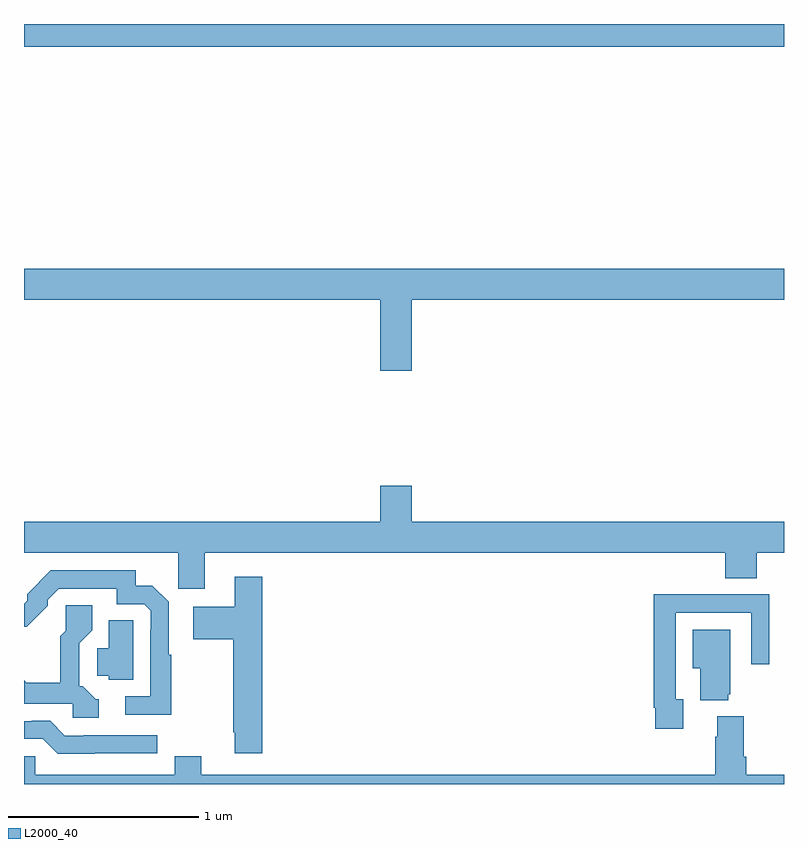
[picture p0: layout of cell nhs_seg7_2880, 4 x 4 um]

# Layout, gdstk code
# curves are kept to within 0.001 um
import gdstk
lib = gdstk.Library(unit=1e-6, precision=1e-09)
def R(c, l, rs):  # rectangles x0, y0, x1, y1
    for r in rs: c.add(gdstk.rectangle(r[:2], r[2:], *l))
def P(c, l, *ps):  # polygons
    for p in ps: c.add(gdstk.Polygon(p, *l))
L2000_40 = (2000, 40)

nhs_seg7_2880 = lib.new_cell('nhs_seg7_2880')
R(nhs_seg7_2880, L2000_40, [(295,1069.88,299,1070)])
P(nhs_seg7_2880, L2000_40, [(297.04,1068.548),(299,1068.548),(299,1068.712),(295,1068.712),(295,1068.548),(296.876,1068.548),(296.876,1068.174),(297.04,1068.174)],
  [(295.951,1067.216),(298.691,1067.216),(298.691,1067.083),(298.856,1067.083),(298.856,1067.216),(299,1067.216),(299,1067.38),(297.04,1067.38),(297.04,1067.569),(296.876,1067.569),(296.876,1067.38),(295,1067.38),(295,1067.216),(295.813,1067.216),(295.813,1067.028),(295.951,1067.028)],
  [(295.774,1066.679),(295.762,1066.679),(295.762,1066.958),(295.676,1067.044),(295.587,1067.044),(295.587,1067.124),(295.142,1067.124),(295.017,1066.999),(295.017,1066.965),(295,1066.948),(295,1066.827),(295.015,1066.827),(295.125,1066.937),(295.125,1066.971),(295.182,1067.028),(295.488,1067.028),(295.488,1066.947),(295.632,1066.947),(295.668,1066.911),(295.668,1066.811),(295.665,1066.811),(295.665,1066.461),(295.533,1066.461),(295.533,1066.365),(295.774,1066.365)],
  [(296.255,1067.092),(296.108,1067.092),(296.108,1066.933),(295.89,1066.933),(295.89,1066.763),(296.101,1066.763),(296.101,1066.273),(296.108,1066.273),(296.108,1066.161),(296.255,1066.161)],
  [(298.471,1066.446),(298.431,1066.446),(298.431,1066.902),(298.827,1066.902),(298.827,1066.629),(298.923,1066.629),(298.923,1066.998),(298.607,1066.998),(298.607,1067),(298.315,1067),(298.315,1066.402),(298.323,1066.402),(298.323,1066.29),(298.471,1066.29)],
  [(295.393,1066.446),(295.377,1066.446),(295.308,1066.515),(295.29,1066.515),(295.29,1066.74),(295.36,1066.81),(295.36,1066.942),(295.221,1066.942),(295.221,1066.807),(295.192,1066.778),(295.192,1066.533),(295.013,1066.533),(295,1066.546),(295,1066.422),(295.257,1066.422),(295.257,1066.35),(295.393,1066.35)],
  [(295.575,1066.862),(295.445,1066.862),(295.445,1066.715),(295.386,1066.715),(295.386,1066.569),(295.446,1066.569),(295.446,1066.55),(295.575,1066.55)],
  [(298.706,1066.473),(298.717,1066.473),(298.717,1066.813),(298.52,1066.813),(298.52,1066.61),(298.559,1066.61),(298.559,1066.442),(298.706,1066.442)],
  [(295.059,1066.146),(295,1066.146),(295,1066),(299,1066),(299,1066.048),(298.802,1066.048),(298.802,1066.144),(298.789,1066.144),(298.789,1066.357),(298.649,1066.357),(298.649,1066.25),(298.637,1066.25),(298.637,1066.048),(295.933,1066.048),(295.933,1066.147),(295.793,1066.147),(295.793,1066.048),(295.059,1066.048)],
  [(295.373,1066.161),(295.702,1066.161),(295.702,1066.257),(295.315,1066.257),(295.315,1066.254),(295.215,1066.254),(295.137,1066.332),(295.04,1066.332),(295.04,1066.329),(295,1066.329),(295,1066.239),(295.098,1066.239),(295.177,1066.16)])

lib.write_gds('nhs_seg7_2880.gds')
